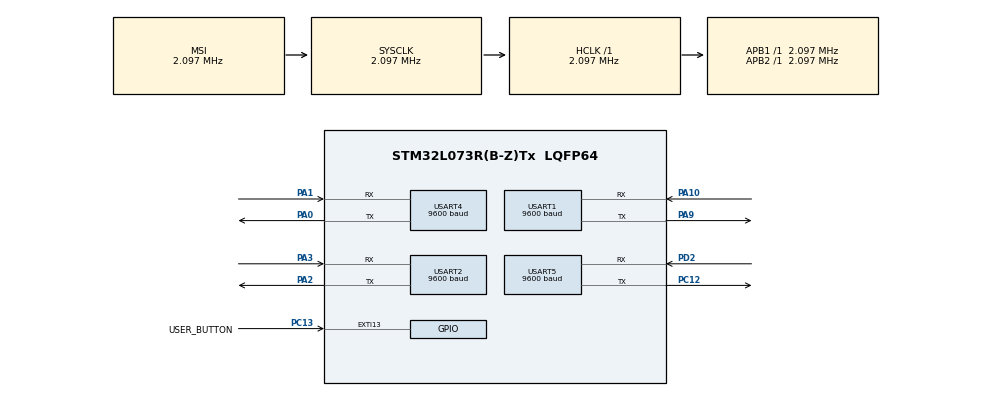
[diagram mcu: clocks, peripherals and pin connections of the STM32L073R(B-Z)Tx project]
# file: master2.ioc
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Mcu.Family=STM32L0
Mcu.Name=STM32L073R(B-Z)Tx
Mcu.Package=LQFP64
NVIC.EXTI4_15_IRQn=true\:0\:0\:false\:false\:true\:true\:true\:true
NVIC.USART1_IRQn=true\:0\:0\:false\:false\:true\:true\:true\:true
NVIC.USART4_5_IRQn=true\:0\:0\:false\:false\:true\:true\:true\:true
PA0.Mode=Asynchronous
PA0.Signal=USART4_TX
PA1.Mode=Asynchronous
PA1.Signal=USART4_RX
PA10.Mode=Asynchronous
PA10.Signal=USART1_RX
PA13.GPIO_Label=TMS
PA13.Mode=Serial_Wire
PA13.Signal=SYS_SWDIO
PA14.GPIO_Label=TCK
PA14.Mode=Serial_Wire
PA14.Signal=SYS_SWCLK
PA2.Mode=Asynchronous
PA2.Signal=USART2_TX
PA3.Mode=Asynchronous
PA3.Signal=USART2_RX
PA9.Mode=Asynchronous
PA9.Signal=USART1_TX
PC12.Mode=Asynchronous
PC12.Signal=USART5_TX
PC13.GPIO_Label=USER_BUTTON
PC13.Signal=GPXTI13
PC14-OSC32_IN.Mode=LSE-External-Oscillator
PC14-OSC32_IN.Signal=RCC_OSC32_IN
PC15-OSC32_OUT.Mode=LSE-External-Oscillator
PC15-OSC32_OUT.Signal=RCC_OSC32_OUT
PD2.Mode=Asynchronous
PD2.Signal=USART5_RX
PH0-OSC_IN.GPIO_Label=MCO
PH0-OSC_IN.Mode=HSE-External-Clock-Source
PH0-OSC_IN.Signal=RCC_OSC_IN
ProjectManager.HeapSize=0x200
ProjectManager.StackSize=0x400
ProjectManager.TargetToolchain=MDK-ARM V5.32
RCC.AHBFreq_Value=2097000
RCC.APB1Freq_Value=2097000
RCC.APB1TimFreq_Value=2097000
RCC.APB2Freq_Value=2097000
RCC.APB2TimFreq_Value=2097000
RCC.HSE_VALUE=8000000
RCC.HSI16_VALUE=16000000
RCC.HSI48_VALUE=48000000
RCC.HSI_VALUE=16000000
RCC.MSI_VALUE=2097000
RCC.SYSCLKFreq_VALUE=2097000
RCC.VCOOutputFreq_Value=48000000
USART1.BaudRate=9600
USART1.VirtualMode-Asynchronous=VM_ASYNC
USART2.BaudRate=9600
USART2.VirtualMode-Asynchronous=VM_ASYNC
USART4.BaudRate=9600
USART4.VirtualMode-Asynchronous=VM_ASYNC
USART5.BaudRate=9600
USART5.VirtualMode-Asynchronous=VM_ASYNC
board=NUCLEO-L073RZ

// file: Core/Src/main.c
/* USER CODE BEGIN Header */
/**
  ******************************************************************************
  * @file           : main.c
  * @brief          : Main program body
  ******************************************************************************
  * @attention
  *
  * Copyright (c) 2025 STMicroelectronics.
  * All rights reserved.
  *
  * This software is licensed under terms that can be found in the LICENSE file
  * in the root directory of this software component.
  * If no LICENSE file comes with this software, it is provided AS-IS.
  *
  ******************************************************************************
  */
/* USER CODE END Header */
#include "main.h"

/* USER CODE BEGIN PD */
#define RXBUFFERSIZE 15

/* USER CODE END PD */

UART_HandleTypeDef huart1;
UART_HandleTypeDef huart2;
UART_HandleTypeDef huart4;
UART_HandleTypeDef huart5;

/* USER CODE BEGIN PV */

//Receive Data Buffer
uint8_t aRxBuffer[RXBUFFERSIZE];
//Transmit Data Complete flag
__IO ITStatus Uart1_Ready = RESET;
__IO ITStatus Uart5_Ready = RESET;
//Transmit receive Complete
uint8_t receiveComplete = 1;

//Transmit Car Startup
uint8_t carStartup = 0;

//Receive Check Buffer
uint8_t checkReceive;

/* USER CODE END PV */

void SystemClock_Config(void);
static void MX_GPIO_Init(void);
static void MX_USART1_UART_Init(void);
static void MX_USART2_UART_Init(void);
static void MX_USART4_UART_Init(void);
static void MX_USART5_UART_Init(void);

/* USER CODE BEGIN 0 */
void HAL_UART_RxCpltCallback(UART_HandleTypeDef *UartHandle)
{
  /* Set transmission flag: transfer complete */
	if (UartHandle->Instance == USART1)
		Uart1_Ready = SET;
	if (UartHandle->Instance == USART5)
		Uart5_Ready = SET;
}

void HAL_UART_TxCpltCallback(UART_HandleTypeDef *UartHandle)
{
  /* Set transmission flag: transfer complete */
	if (UartHandle->Instance == USART1)
		Uart1_Ready = SET;
	if (UartHandle->Instance == USART5)
		Uart5_Ready = SET;
}

void HAL_GPIO_EXTI_Callback(uint16_t GPIO_Pin) {
	switch(GPIO_Pin) {
		case USER_BUTTON_PIN:
			carStartup = !carStartup;
			BSP_LED_Toggle(LED2);
		break;
	}
}

/* USER CODE END 0 */

int main(void)
{

  /* MCU Configuration--------------------------------------------------------*/

  /* Reset of all peripherals, Initializes the Flash interface and the Systick. */
  HAL_Init();

  /* Configure the system clock */
  SystemClock_Config();

  /* Initialize all configured peripherals */
  MX_GPIO_Init();
  MX_USART1_UART_Init();
  MX_USART2_UART_Init();
  MX_USART4_UART_Init();
  MX_USART5_UART_Init();
  /* USER CODE BEGIN 2 */

	//Printf("Hello New World\r\n");

	BSP_LED_Init(LED2);

  /* USER CODE END 2 */

  /* Infinite loop */
  /* USER CODE BEGIN WHILE */
  while (1)
  {
		if(HAL_UART_Transmit_IT(&huart5, &carStartup, 1)!= HAL_OK)
		{
			Error_Handler();
		}

		while (Uart5_Ready != SET)
		{
		}
		Uart5_Ready = RESET;

		if(HAL_UART_Receive_IT(&huart5, &checkReceive, 1) != HAL_OK)
		{
			Error_Handler();
		}

		/*##-5- Wait for the end of the transfer ###################################*/
		while (Uart5_Ready != SET)
		{
		}

		/* Reset transmission flag */
		Uart5_Ready = RESET;

		if(HAL_UART_Receive_IT(&huart1, (uint8_t *)aRxBuffer, RXBUFFERSIZE) != HAL_OK)
		{
			Error_Handler();
		}

		while (Uart1_Ready != SET)
		{
		}
		Uart1_Ready = RESET;

		for (volatile int i = 0; i < 15; i++) {
			Printf("%d", aRxBuffer[i]);
		}
		Printf("\r\n");

		if(HAL_UART_Transmit_IT(&huart1, &receiveComplete, 1)!= HAL_OK)
		{
			Error_Handler();
		}

		while (Uart1_Ready != SET)
		{
		}
		Uart1_Ready = RESET;

    /* USER CODE END WHILE */

  }
}

void SystemClock_Config(void)
{
  RCC_OscInitTypeDef RCC_OscInitStruct = {0};
  RCC_ClkInitTypeDef RCC_ClkInitStruct = {0};
  RCC_PeriphCLKInitTypeDef PeriphClkInit = {0};

  /** Configure the main internal regulator output voltage
  */
  __HAL_PWR_VOLTAGESCALING_CONFIG(PWR_REGULATOR_VOLTAGE_SCALE1);

  /** Initializes the RCC Oscillators according to the specified parameters
  * in the RCC_OscInitTypeDef structure.
  */
  RCC_OscInitStruct.OscillatorType = RCC_OSCILLATORTYPE_MSI;
  RCC_OscInitStruct.MSIState = RCC_MSI_ON;
  RCC_OscInitStruct.MSICalibrationValue = 0;
  RCC_OscInitStruct.MSIClockRange = RCC_MSIRANGE_5;
  RCC_OscInitStruct.PLL.PLLState = RCC_PLL_NONE;
  if (HAL_RCC_OscConfig(&RCC_OscInitStruct) != HAL_OK)
  {
    Error_Handler();
  }

  /** Initializes the CPU, AHB and APB buses clocks
  */
  RCC_ClkInitStruct.ClockType = RCC_CLOCKTYPE_HCLK|RCC_CLOCKTYPE_SYSCLK
                              |RCC_CLOCKTYPE_PCLK1|RCC_CLOCKTYPE_PCLK2;
  RCC_ClkInitStruct.SYSCLKSource = RCC_SYSCLKSOURCE_MSI;
  RCC_ClkInitStruct.AHBCLKDivider = RCC_SYSCLK_DIV1;
  RCC_ClkInitStruct.APB1CLKDivider = RCC_HCLK_DIV1;
  RCC_ClkInitStruct.APB2CLKDivider = RCC_HCLK_DIV1;

  if (HAL_RCC_ClockConfig(&RCC_ClkInitStruct, FLASH_LATENCY_0) != HAL_OK)
  {
    Error_Handler();
  }
  PeriphClkInit.PeriphClockSelection = RCC_PERIPHCLK_USART1|RCC_PERIPHCLK_USART2;
  PeriphClkInit.Usart1ClockSelection = RCC_USART1CLKSOURCE_PCLK2;
  PeriphClkInit.Usart2ClockSelection = RCC_USART2CLKSOURCE_PCLK1;
  if (HAL_RCCEx_PeriphCLKConfig(&PeriphClkInit) != HAL_OK)
  {
    Error_Handler();
  }
}

static void MX_USART1_UART_Init(void)
{

  huart1.Instance = USART1;
  huart1.Init.BaudRate = 9600;
  huart1.Init.WordLength = UART_WORDLENGTH_8B;
  huart1.Init.StopBits = UART_STOPBITS_1;
  huart1.Init.Parity = UART_PARITY_NONE;
  huart1.Init.Mode = UART_MODE_TX_RX;
  huart1.Init.HwFlowCtl = UART_HWCONTROL_NONE;
  huart1.Init.OverSampling = UART_OVERSAMPLING_16;
  huart1.Init.OneBitSampling = UART_ONE_BIT_SAMPLE_DISABLE;
  huart1.AdvancedInit.AdvFeatureInit = UART_ADVFEATURE_NO_INIT;
  if (HAL_UART_Init(&huart1) != HAL_OK)
  {
    Error_Handler();
  }

}

static void MX_USART2_UART_Init(void)
{

  /* USER CODE BEGIN USART2_Init 1 */

	HW_VCOM_Init(&huart2);
#if 0
  /* USER CODE END USART2_Init 1 */
  huart2.Instance = USART2;
  huart2.Init.BaudRate = 9600;
  huart2.Init.WordLength = UART_WORDLENGTH_8B;
  huart2.Init.StopBits = UART_STOPBITS_1;
  huart2.Init.Parity = UART_PARITY_NONE;
  huart2.Init.Mode = UART_MODE_TX_RX;
  huart2.Init.HwFlowCtl = UART_HWCONTROL_NONE;
  huart2.Init.OverSampling = UART_OVERSAMPLING_16;
  huart2.Init.OneBitSampling = UART_ONE_BIT_SAMPLE_DISABLE;
  huart2.AdvancedInit.AdvFeatureInit = UART_ADVFEATURE_NO_INIT;
  if (HAL_UART_Init(&huart2) != HAL_OK)
  {
    Error_Handler();
  }
  /* USER CODE BEGIN USART2_Init 2 */
#endif

  /* USER CODE END USART2_Init 2 */

}

static void MX_USART4_UART_Init(void)
{

  huart4.Instance = USART4;
  huart4.Init.BaudRate = 9600;
  huart4.Init.WordLength = UART_WORDLENGTH_8B;
  huart4.Init.StopBits = UART_STOPBITS_1;
  huart4.Init.Parity = UART_PARITY_NONE;
  huart4.Init.Mode = UART_MODE_TX_RX;
  huart4.Init.HwFlowCtl = UART_HWCONTROL_NONE;
  huart4.Init.OverSampling = UART_OVERSAMPLING_16;
  huart4.Init.OneBitSampling = UART_ONE_BIT_SAMPLE_DISABLE;
  huart4.AdvancedInit.AdvFeatureInit = UART_ADVFEATURE_NO_INIT;
  if (HAL_UART_Init(&huart4) != HAL_OK)
  {
    Error_Handler();
  }

}

static void MX_USART5_UART_Init(void)
{

  huart5.Instance = USART5;
  huart5.Init.BaudRate = 9600;
  huart5.Init.WordLength = UART_WORDLENGTH_8B;
  huart5.Init.StopBits = UART_STOPBITS_1;
  huart5.Init.Parity = UART_PARITY_NONE;
  huart5.Init.Mode = UART_MODE_TX_RX;
  huart5.Init.HwFlowCtl = UART_HWCONTROL_NONE;
  huart5.Init.OverSampling = UART_OVERSAMPLING_16;
  huart5.Init.OneBitSampling = UART_ONE_BIT_SAMPLE_DISABLE;
  huart5.AdvancedInit.AdvFeatureInit = UART_ADVFEATURE_NO_INIT;
  if (HAL_UART_Init(&huart5) != HAL_OK)
  {
    Error_Handler();
  }

}

static void MX_GPIO_Init(void)
{
  GPIO_InitTypeDef GPIO_InitStruct = {0};

  /* GPIO Ports Clock Enable */
  __HAL_RCC_GPIOC_CLK_ENABLE();
  __HAL_RCC_GPIOH_CLK_ENABLE();
  __HAL_RCC_GPIOA_CLK_ENABLE();
  __HAL_RCC_GPIOD_CLK_ENABLE();

  /*Configure GPIO pin : USER_BUTTON_Pin */
  GPIO_InitStruct.Pin = USER_BUTTON_Pin;
  GPIO_InitStruct.Mode = GPIO_MODE_IT_RISING;
  GPIO_InitStruct.Pull = GPIO_NOPULL;
  HAL_GPIO_Init(USER_BUTTON_GPIO_Port, &GPIO_InitStruct);

  /* EXTI interrupt init*/
  HAL_NVIC_SetPriority(EXTI4_15_IRQn, 0, 0);
  HAL_NVIC_EnableIRQ(EXTI4_15_IRQn);

}

void Error_Handler(void)
{
  __disable_irq();
  while (1)
  {
  }
}
